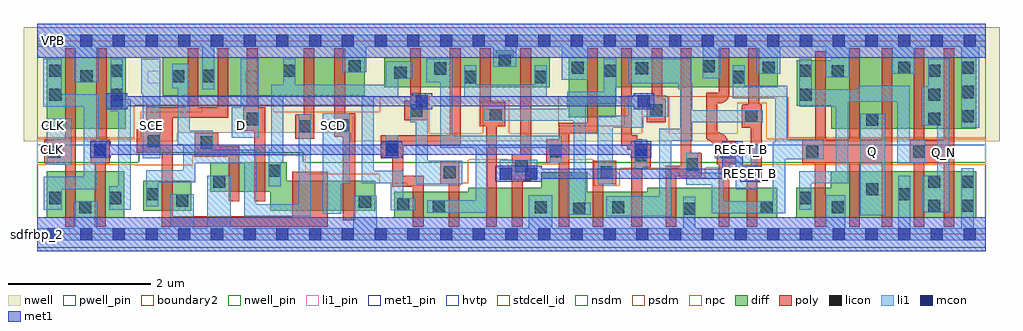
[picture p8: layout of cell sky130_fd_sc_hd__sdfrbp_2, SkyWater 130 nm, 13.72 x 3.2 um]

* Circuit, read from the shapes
.subckt sky130_fd_sc_hd__sdfrbp_2 CLK D Q Q_N RESET_B SCD SCE VGND VNB VPB VPWR
XM1 VGND CLK n1 VNB sky130_fd_pr__nfet_01v8 w=0.65 l=0.15
XM2 n2 n1 VGND VNB sky130_fd_pr__nfet_01v8 w=0.65 l=0.15
XM3 VGND SCE n3 VNB sky130_fd_pr__nfet_01v8 w=0.42 l=0.15
XM4 n4 n3 VGND VNB sky130_fd_pr__nfet_01v8 w=0.42 l=0.15
XM5 n5 D n4 VNB sky130_fd_pr__nfet_01v8 w=0.42 l=0.15
XM6 n6 SCE n5 VNB sky130_fd_pr__nfet_01v8 w=0.42 l=0.5
XM7 VGND SCD n6 VNB sky130_fd_pr__nfet_01v8 w=0.42 l=0.18
XM8 n7 n1 n5 VNB sky130_fd_pr__nfet_01v8 w=0.36 l=0.15
XM9 n8 n2 n7 VNB sky130_fd_pr__nfet_01v8 w=0.36 l=0.15
XM10 n9 n10 n8 VNB sky130_fd_pr__nfet_01v8 w=0.42 l=0.15
XM11 VGND RESET_B n9 VNB sky130_fd_pr__nfet_01v8 w=0.42 l=0.15
XM12 n10 n7 VGND VNB sky130_fd_pr__nfet_01v8 w=0.64 l=0.15
XM13 n11 n2 n10 VNB sky130_fd_pr__nfet_01v8 w=0.36 l=0.15
XM14 n12 n1 n11 VNB sky130_fd_pr__nfet_01v8 w=0.36 l=0.15
XM15 VGND n13 n12 VNB sky130_fd_pr__nfet_01v8 w=0.42 l=0.15
XM16 n14 RESET_B VGND VNB sky130_fd_pr__nfet_01v8 w=0.42 l=0.15
XM17 n13 n11 n14 VNB sky130_fd_pr__nfet_01v8 w=0.42 l=0.15
XM18 VGND n13 n15 VNB sky130_fd_pr__nfet_01v8 w=0.42 l=0.15
XM19 Q n13 VGND VNB sky130_fd_pr__nfet_01v8 w=0.65 l=0.15 m=2
XM20 Q_N n15 VGND VNB sky130_fd_pr__nfet_01v8 w=0.65 l=0.15 m=2
XM21 VPWR CLK n1 VPB sky130_fd_pr__pfet_01v8_hvt w=1 l=0.15
XM22 n2 n1 VPWR VPB sky130_fd_pr__pfet_01v8_hvt w=1 l=0.15
XM23 VPWR SCE n3 VPB sky130_fd_pr__pfet_01v8_hvt w=0.54 l=0.15
XM24 n16 SCE VPWR VPB sky130_fd_pr__pfet_01v8_hvt w=0.54 l=0.15
XM25 n5 D n16 VPB sky130_fd_pr__pfet_01v8_hvt w=0.54 l=0.15
XM26 n17 n3 n5 VPB sky130_fd_pr__pfet_01v8_hvt w=0.54 l=0.15
XM27 VPWR SCD n17 VPB sky130_fd_pr__pfet_01v8_hvt w=0.54 l=0.15
XM28 n7 n2 n5 VPB sky130_fd_pr__pfet_01v8_hvt w=0.42 l=0.15
XM29 n18 n1 n7 VPB sky130_fd_pr__pfet_01v8_hvt w=0.42 l=0.15
XM30 VPWR n10 n18 VPB sky130_fd_pr__pfet_01v8_hvt w=0.42 l=0.15
XM31 n18 RESET_B VPWR VPB sky130_fd_pr__pfet_01v8_hvt w=0.42 l=0.15
XM32 n10 n7 VPWR VPB sky130_fd_pr__pfet_01v8_hvt w=0.84 l=0.15
XM33 n11 n1 n10 VPB sky130_fd_pr__pfet_01v8_hvt w=0.42 l=0.15
XM34 n19 n2 n11 VPB sky130_fd_pr__pfet_01v8_hvt w=0.42 l=0.15
XM35 VPWR n13 n19 VPB sky130_fd_pr__pfet_01v8_hvt w=0.42 l=0.15
XM36 n13 RESET_B VPWR VPB sky130_fd_pr__pfet_01v8_hvt w=0.42 l=0.15
XM37 VPWR n11 n13 VPB sky130_fd_pr__pfet_01v8_hvt w=0.42 l=0.15
XM38 VPWR n13 n15 VPB sky130_fd_pr__pfet_01v8_hvt w=0.64 l=0.15
XM39 Q n13 VPWR VPB sky130_fd_pr__pfet_01v8_hvt w=1 l=0.15 m=2
XM40 Q_N n15 VPWR VPB sky130_fd_pr__pfet_01v8_hvt w=1 l=0.15 m=2
.ends

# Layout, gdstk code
import gdstk
lib = gdstk.Library(unit=1e-6, precision=1e-09)
def R(c, l, rs):  # rectangles x0, y0, x1, y1
    for r in rs: c.add(gdstk.rectangle(r[:2], r[2:], *l))
def A(c, l, x, y, w, h, nx, ny, dx, dy):  # array of equal rectangles
    R(c, l, [(x+i*dx, y+j*dy, x+i*dx+w, y+j*dy+h) for i in range(nx) for j in range(ny)])
def P(c, l, *ps):  # polygons
    for p in ps: c.add(gdstk.Polygon(p, *l))
nwell_pin = (64, 16)
nwell = (64, 20)
diff = (65, 20)
poly = (66, 20)
licon = (66, 44)
li1_pin = (67, 16)
li1 = (67, 20)
mcon = (67, 44)
met1_pin = (68, 16)
met1 = (68, 20)
hvtp = (78, 44)
stdcell_id = (81, 4)
nsdm = (93, 44)
psdm = (94, 20)
npc = (95, 20)
pwell_pin = (122, 16)
boundary2 = (236, 0)

sky130_fd_sc_hd__sdfrbp_ = lib.new_cell('sky130_fd_sc_hd__sdfrbp_2')
R(sky130_fd_sc_hd__sdfrbp_, nwell_pin, [(0.17,2.64,0.315,2.78)])
P(sky130_fd_sc_hd__sdfrbp_, nwell, [(13.53,2.91),(-0.19,2.91),(-0.19,1.305),(1.97,1.305),(1.97,1.425),(4.405,1.425),(4.405,1.305),(13.53,1.305)])
R(sky130_fd_sc_hd__sdfrbp_, diff, [(0.135,0.235,1.225,0.885), (1.495,0.33,2.165,0.75), (0.135,1.485,1.245,2.485), (1.77,1.945,4.61,2.485)])
P(sky130_fd_sc_hd__sdfrbp_, diff, [(13.205,2.485),(11.165,2.485),(11.165,2.445),(10.68,2.445),(10.68,1.805),(11.165,1.805),(11.165,1.485),(13.205,1.485)],
  [(4.755,0.75),(3.51,0.75),(3.51,1.015),(2.435,1.015),(2.435,0.595),(3.28,0.595),(3.28,0.33),(4.755,0.33)],
  [(7.205,2.485),(6.7,2.485),(6.7,2.585),(6.45,2.585),(6.45,2.485),(4.88,2.485),(4.88,2.065),(7.205,2.065)],
  [(10.405,0.655),(8.58,0.655),(8.58,0.595),(7.735,0.595),(7.735,0.875),(7.085,0.875),(7.085,0.655),(6.065,0.655),(6.065,0.595),(5.025,0.595),(5.025,0.235),(10.405,0.235)],
  [(10.41,2.485),(7.475,2.485),(7.475,1.645),(8.135,1.645),(8.135,2.065),(10.41,2.065)],
  [(13.205,0.885),(11.16,0.885),(11.16,0.655),(10.675,0.655),(10.675,0.235),(13.205,0.235)])
P(sky130_fd_sc_hd__sdfrbp_, poly, [(0.545,2.615),(0.395,2.615),(0.395,1.345),(0.23,1.345),(0.23,1.325),(0.105,1.325),(0.105,0.995),(0.23,0.995),(0.23,0.98),(0.395,0.98),(0.395,0.105),(0.545,0.105)],
  [(1.025,1.325),(0.98,1.325),(0.98,2.615),(0.83,2.615),(0.83,1.325),(0.755,1.325),(0.755,0.995),(0.815,0.995),(0.815,0.105),(0.965,0.105),(0.965,0.995),(1.025,0.995)],
  [(2.845,1.24),(2.55,1.24),(2.55,1.425),(2.22,1.425),(2.22,1.09),(2.695,1.09),(2.695,0.465),(2.845,0.465)],
  [(3.205,1.785),(3.1,1.785),(3.1,2.615),(2.95,2.615),(2.95,1.785),(2.9,1.785),(2.9,1.455),(3.055,1.455),(3.055,0.465),(3.205,0.465)],
  [(3.9,2.615),(3.75,2.615),(3.75,1.685),(3.65,1.685),(3.65,1.68),(3.64,1.68),(3.64,1.675),(3.63,1.675),(3.63,1.34),(3.9,1.34)],
  [(4.085,0.88),(3.585,0.88),(3.585,0.255),(1.905,0.255),(1.905,1.635),(2.69,1.635),(2.69,2.615),(2.54,2.615),(2.54,1.785),(2.27,1.785),(2.27,2.615),(2.12,2.615),(2.12,1.785),(1.535,1.785),(1.535,1.475),(1.4,1.475),(1.4,1.145),(1.755,1.145),(1.755,0.105),(4.085,0.105)],
  [(4.475,1.7),(4.33,1.7),(4.33,2.615),(4.18,2.615),(4.18,1.7),(4.175,1.7),(4.175,1.37),(4.295,1.37),(4.295,0.2),(4.475,0.2)],
  [(5.495,1.875),(5.395,1.875),(5.395,2.615),(5.245,2.615),(5.245,1.875),(5.165,1.875),(5.165,1.605),(5.495,1.605)],
  [(5.935,1.035),(5.665,1.035),(5.665,0.705),(5.785,0.705),(5.785,0.105),(5.935,0.105)],
  [(5.955,2.615),(5.805,2.615),(5.805,1.395),(4.83,1.395),(4.83,1.065),(4.995,1.065),(4.995,0.67),(5.285,0.67),(5.285,0.105),(5.435,0.105),(5.435,0.82),(5.145,0.82),(5.145,1.245),(5.955,1.245)],
  [(6.585,1.855),(6.375,1.855),(6.375,2.615),(6.225,2.615),(6.225,1.515),(6.315,1.515),(6.315,0.105),(6.465,0.105),(6.465,1.515),(6.585,1.515)],
  [(6.945,2.615),(6.795,2.615),(6.795,1.125),(6.675,1.125),(6.675,0.105),(6.825,0.105),(6.825,0.755),(6.945,0.755)],
  [(7.885,2.615),(7.735,2.615),(7.735,1.57),(7.335,1.57),(7.335,1.335),(7.155,1.335),(7.155,1.005),(7.335,1.005),(7.335,0.105),(7.485,0.105),(7.485,1.42),(7.885,1.42)],
  [(8.145,1.035),(7.81,1.035),(7.81,0.105),(7.96,0.105),(7.96,0.705),(8.145,0.705)],
  [(8.625,1.275),(8.505,1.275),(8.505,1.335),(8.44,1.335),(8.44,1.395),(8.36,1.395),(8.36,2.615),(8.21,2.615),(8.21,1.245),(8.295,1.245),(8.295,1.185),(8.355,1.185),(8.355,0.105),(8.505,0.105),(8.505,0.945),(8.625,0.945)],
  [(8.84,1.905),(8.79,1.905),(8.79,2.615),(8.64,2.615),(8.64,1.905),(8.57,1.905),(8.57,1.575),(8.84,1.575)],
  [(9.345,1.135),(9.335,1.135),(9.335,1.14),(9.325,1.14),(9.325,1.145),(9.2,1.145),(9.2,2.615),(9.05,2.615),(9.05,0.965),(8.835,0.965),(8.835,0.105),(8.985,0.105),(8.985,0.815),(9.345,0.815)],
  [(9.825,1.305),(9.815,1.305),(9.815,1.31),(9.805,1.31),(9.805,1.315),(9.705,1.315),(9.705,1.33),(9.7,1.33),(9.7,1.345),(9.695,1.345),(9.695,1.35),(9.69,1.35),(9.69,1.36),(9.685,1.36),(9.685,1.365),(9.68,1.365),(9.68,1.375),(9.675,1.375),(9.675,1.38),(9.67,1.38),(9.67,1.385),(9.665,1.385),(9.665,1.39),(9.66,1.39),(9.66,1.395),(9.65,1.395),(9.65,1.4),(9.645,1.4),(9.645,1.405),(9.635,1.405),(9.635,1.41),(9.63,1.41),(9.63,1.415),(9.615,1.415),(9.615,1.42),(9.6,1.42),(9.6,1.435),(9.56,1.435),(9.56,1.84),(9.62,1.84),(9.62,1.845),(9.635,1.845),(9.635,1.85),(9.65,1.85),(9.65,1.855),(9.655,1.855),(9.655,1.86),(9.665,1.86),(9.665,1.865),(9.67,1.865),(9.67,1.87),(9.68,1.87),(9.68,1.875),(9.685,1.875),(9.685,1.88),(9.69,1.88),(9.69,1.885),(9.695,1.885),(9.695,1.89),(9.7,1.89),(9.7,1.9),(9.705,1.9),(9.705,1.905),(9.71,1.905),(9.71,1.915),(9.715,1.915),(9.715,1.92),(9.72,1.92),(9.72,1.935),(9.73,1.935),(9.73,2.615),(9.58,2.615),(9.58,1.99),(9.41,1.99),(9.41,1.34),(9.425,1.34),(9.425,1.33),(9.435,1.33),(9.435,1.325),(9.445,1.325),(9.445,1.32),(9.455,1.32),(9.455,1.315),(9.465,1.315),(9.465,1.31),(9.47,1.31),(9.47,1.305),(9.475,1.305),(9.475,1.3),(9.485,1.3),(9.485,1.295),(9.49,1.295),(9.49,1.29),(9.495,1.29),(9.495,1.285),(9.5,1.285),(9.5,1.28),(9.505,1.28),(9.505,1.275),(9.51,1.275),(9.51,1.265),(9.515,1.265),(9.515,1.26),(9.52,1.26),(9.52,1.255),(9.525,1.255),(9.525,1.245),(9.53,1.245),(9.53,1.235),(9.535,1.235),(9.535,1.225),(9.54,1.225),(9.54,1.215),(9.545,1.215),(9.545,1.2),(9.55,1.2),(9.55,1.185),(9.555,1.185),(9.555,0.985),(9.58,0.985),(9.58,0.105),(9.73,0.105),(9.73,0.985),(9.825,0.985)],
  [(10.185,1.825),(10.15,1.825),(10.15,2.615),(10,2.615),(10,1.825),(9.925,1.825),(9.925,1.82),(9.915,1.82),(9.915,1.815),(9.905,1.815),(9.905,1.505),(9.915,1.505),(9.915,1.5),(9.925,1.5),(9.925,1.495),(10.035,1.495),(10.035,0.85),(10.025,0.85),(10.025,0.845),(10.02,0.845),(10.02,0.84),(10.015,0.84),(10.015,0.835),(9.975,0.835),(9.975,0.105),(10.125,0.105),(10.125,0.73),(10.185,0.73)],
  [(12.025,2.615),(11.875,2.615),(11.875,1.325),(11.565,1.325),(11.565,2.615),(11.415,2.615),(11.415,1.325),(11.09,1.325),(11.09,2.575),(10.94,2.575),(10.94,1.325),(10.755,1.325),(10.755,0.995),(10.935,0.995),(10.935,0.105),(11.085,0.105),(11.085,0.995),(11.415,0.995),(11.415,0.105),(11.565,0.105),(11.565,0.995),(11.875,0.995),(11.875,0.105),(12.025,0.105)],
  [(12.895,2.615),(12.745,2.615),(12.745,1.325),(12.475,1.325),(12.475,2.615),(12.325,2.615),(12.325,1.325),(12.265,1.325),(12.265,0.995),(12.325,0.995),(12.325,0.105),(12.475,0.105),(12.475,0.995),(12.745,0.995),(12.745,0.105),(12.895,0.105)])
A(sky130_fd_sc_hd__sdfrbp_, licon, 12.525, 1.535, 0.17, 0.17, 1, 3, 0, 0.34)
A(sky130_fd_sc_hd__sdfrbp_, licon, 12.995, 1.575, 0.17, 0.17, 1, 3, 0, 0.34)
R(sky130_fd_sc_hd__sdfrbp_, licon, [(7.535,0.275,7.705,0.445), (9.085,0.275,9.255,0.445), (0.595,0.295,0.765,0.465), (6.995,0.295,7.165,0.465), (8.085,0.295,8.255,0.465), (10.175,0.295,10.345,0.465), (11.17,0.295,11.34,0.465), (5.565,0.305,5.735,0.475), (12.525,0.315,12.695,0.485), (12.995,0.315,13.165,0.485), (5.065,0.335,5.235,0.505), (4.525,0.37,4.695,0.54), (1.955,0.39,2.125,0.56), (0.175,0.425,0.345,0.595), (1.015,0.425,1.185,0.595), (10.715,0.425,10.885,0.595), (1.535,0.475,1.705,0.645), (12.105,0.48,12.275,0.65), (11.655,0.545,11.825,0.715), (2.475,0.655,2.645,0.825), (12.525,0.655,12.695,0.825), (12.995,0.655,13.165,0.825), (5.715,0.785,5.885,0.955), (7.925,0.785,8.095,0.955), (3.255,0.805,3.425,0.975), (6.725,0.875,6.895,1.045), (9.125,0.895,9.295,1.065), (8.405,1.025,8.575,1.195), (9.605,1.065,9.775,1.235), (0.155,1.075,0.325,1.245), (0.805,1.075,0.975,1.245), (10.81,1.075,10.98,1.245), (12.315,1.075,12.485,1.245), (7.205,1.085,7.375,1.255), (4.905,1.145,5.075,1.315), (2.3,1.205,2.47,1.375), (1.56,1.225,1.73,1.395), (3.68,1.435,3.85,1.605), (4.225,1.45,4.395,1.62), (11.655,1.525,11.825,1.695), (2.95,1.535,3.12,1.705), (9.955,1.575,10.125,1.745), (6.365,1.595,6.535,1.765), (5.245,1.655,5.415,1.825), (8.62,1.655,8.79,1.825), (0.175,1.875,0.345,2.045), (1.035,1.875,1.205,2.045), (10.72,1.875,10.89,2.045), (6.005,2.125,6.175,2.295), (6.995,2.125,7.165,2.295), (9.78,2.125,9.95,2.295), (0.61,2.135,0.78,2.305), (1.9,2.135,2.07,2.305), (2.32,2.14,2.49,2.31), (5.025,2.185,5.195,2.355), (11.17,2.205,11.34,2.375), (0.175,2.215,0.345,2.385), (1.035,2.215,1.205,2.385), (3.46,2.215,3.63,2.385), (7.97,2.215,8.14,2.385), (10.72,2.215,10.89,2.385), (5.585,2.245,5.755,2.415), (8.42,2.25,8.59,2.42), (7.515,2.255,7.685,2.425), (10.2,2.255,10.37,2.425), (12.105,2.255,12.275,2.425), (4.38,2.275,4.55,2.445), (9.36,2.275,9.53,2.445), (6.49,2.355,6.66,2.525)])
R(sky130_fd_sc_hd__sdfrbp_, li1_pin, [(9.945,0.765,10.115,0.935), (12.695,1.07,12.79,1.23), (0.2,1.105,0.37,1.275), (9.825,1.105,9.995,1.275), (11.675,1.11,11.8,1.225), (0.2,1.445,0.37,1.615), (1.56,1.445,1.73,1.615), (2.795,1.445,2.965,1.615), (4.075,1.445,4.245,1.615), (1.56,2.125,1.73,2.295), (2.925,2.125,3.095,2.295)])
R(sky130_fd_sc_hd__sdfrbp_, li1, [(11.575,0.265,11.925,1.695), (6.505,0.765,7.035,1.045), (8.405,0.92,8.575,1.325), (0.14,0.975,0.49,1.625), (4.905,1.065,5.075,1.395)])
P(sky130_fd_sc_hd__sdfrbp_, li1, [(0.975,1.325),(0.865,1.325),(0.865,1.965),(0.345,1.965),(0.345,2.465),(0.09,2.465),(0.09,1.795),(0.66,1.795),(0.66,0.805),(0.095,0.805),(0.095,0.345),(0.345,0.345),(0.345,0.635),(0.835,0.635),(0.835,0.995),(0.975,0.995)],
  [(1.315,1.9),(1.205,1.9),(1.205,2.465),(1.035,2.465),(1.035,1.73),(1.145,1.73),(1.145,0.675),(1.015,0.675),(1.015,0.345),(1.315,0.345)],
  [(1.73,2.465),(1.465,2.465),(1.465,1.985),(1.485,1.985),(1.485,1.07),(1.73,1.07)],
  [(3.12,2.465),(2.865,2.465),(2.865,1.785),(2.735,1.785),(2.735,1.355),(3.12,1.355)],
  [(3.85,1.685),(3.68,1.685),(3.68,0.425),(3.085,0.425),(3.085,1.185),(2.47,1.185),(2.47,1.455),(2.15,1.455),(2.15,2.4),(1.9,2.4),(1.9,2.055),(1.98,2.055),(1.98,1.26),(2.055,1.26),(2.055,0.9),(1.535,0.9),(1.535,0.395),(1.705,0.395),(1.705,0.73),(2.225,0.73),(2.225,0.995),(2.915,0.995),(2.915,0.255),(3.85,0.255)],
  [(4.395,1.7),(4.02,1.7),(4.02,0.285),(4.275,0.285),(4.275,0.71),(4.395,0.71)],
  [(5.315,0.505),(5.145,0.505),(5.145,0.895),(4.735,0.895),(4.735,1.935),(5.075,1.935),(5.075,2.185),(5.275,2.185),(5.275,2.435),(4.905,2.435),(4.905,2.105),(3.63,2.105),(3.63,2.465),(3.46,2.465),(3.46,2.105),(3.29,2.105),(3.29,1.185),(3.255,1.185),(3.255,0.675),(3.425,0.675),(3.425,1.015),(3.46,1.015),(3.46,1.935),(4.565,1.935),(4.565,0.715),(4.975,0.715),(4.975,0.335),(5.315,0.335)],
  [(5.975,1.035),(5.495,1.035),(5.495,1.955),(5.245,1.955),(5.245,1.575),(5.325,1.575),(5.325,0.705),(5.975,0.705)],
  [(7.165,2.375),(6.995,2.375),(6.995,2.105),(6.175,2.105),(6.175,2.375),(6.005,2.375),(6.005,1.935),(7.165,1.935)],
  [(7.375,1.385),(5.835,1.385),(5.835,2.465),(5.47,2.465),(5.47,2.135),(5.665,2.135),(5.665,1.215),(6.165,1.215),(6.165,0.475),(5.485,0.475),(5.485,0.305),(6.335,0.305),(6.335,1.215),(7.205,1.215),(7.205,1.005),(7.375,1.005)],
  [(10.205,1.745),(9.21,1.745),(9.21,2.115),(9.19,2.115),(9.19,2.465),(8.32,2.465),(8.32,2.125),(9.015,2.125),(9.015,2.035),(9.04,2.035),(9.04,1.485),(8.745,1.485),(8.745,0.535),(8.005,0.535),(8.005,0.255),(8.915,0.255),(8.915,1.315),(9.21,1.315),(9.21,1.575),(10.205,1.575)],
  [(13.34,2.805),(0,2.805),(0,2.635),(0.53,2.635),(0.53,2.135),(0.86,2.135),(0.86,2.635),(2.32,2.635),(2.32,2.04),(2.49,2.04),(2.49,2.635),(4.3,2.635),(4.3,2.275),(4.63,2.275),(4.63,2.635),(6.41,2.635),(6.41,2.355),(6.74,2.355),(6.74,2.635),(7.375,2.635),(7.375,2.175),(7.745,2.175),(7.745,2.635),(9.36,2.635),(9.36,2.195),(9.61,2.195),(9.61,2.635),(10.12,2.635),(10.12,2.255),(10.45,2.255),(10.45,2.635),(11.09,2.635),(11.09,2.205),(11.42,2.205),(11.42,2.635),(12.025,2.635),(12.025,2.255),(12.355,2.255),(12.355,2.635),(12.995,2.635),(12.995,1.495),(13.245,1.495),(13.245,2.635),(13.34,2.635)],
  [(12.825,2.465),(12.525,2.465),(12.525,2.08),(12.435,2.08),(12.435,1.535),(12.655,1.535),(12.655,0.825),(12.445,0.825),(12.445,0.31),(12.825,0.31)],
  [(12.485,1.325),(12.265,1.325),(12.265,2.085),(11.55,2.085),(11.55,2.035),(10.89,2.035),(10.89,2.465),(10.715,2.465),(10.715,1.795),(11.23,1.795),(11.23,0.885),(10.715,0.885),(10.715,0.345),(10.885,0.345),(10.885,0.715),(11.405,0.715),(11.405,1.865),(12.095,1.865),(12.095,0.995),(12.485,0.995)],
  [(11.06,1.325),(10.545,1.325),(10.545,2.085),(9.95,2.085),(9.95,2.375),(9.78,2.375),(9.78,1.915),(10.375,1.915),(10.375,1.295),(10.345,1.295),(10.345,0.465),(9.655,0.465),(9.655,0.865),(9.295,0.865),(9.295,1.145),(9.125,1.145),(9.125,0.695),(9.485,0.695),(9.485,0.295),(10.515,0.295),(10.515,1.055),(11.06,1.055)],
  [(8.14,2.465),(7.97,2.465),(7.97,2.005),(7.455,2.005),(7.455,1.765),(6.285,1.765),(6.285,1.595),(7.545,1.595),(7.545,0.835),(7.455,0.835),(7.455,0.275),(7.785,0.275),(7.785,0.445),(7.715,0.445),(7.715,1.835),(8.14,1.835)],
  [(13.34,0.085),(13.165,0.085),(13.165,0.93),(12.995,0.93),(12.995,0.085),(12.275,0.085),(12.275,0.825),(12.105,0.825),(12.105,0.085),(11.365,0.085),(11.365,0.545),(11.09,0.545),(11.09,0.085),(9.255,0.085),(9.255,0.525),(9.085,0.525),(9.085,0.085),(7.245,0.085),(7.245,0.545),(6.915,0.545),(6.915,0.085),(4.775,0.085),(4.775,0.54),(4.445,0.54),(4.445,0.085),(2.725,0.085),(2.725,0.825),(2.395,0.825),(2.395,0.085),(2.205,0.085),(2.205,0.56),(1.875,0.56),(1.875,0.085),(0.845,0.085),(0.845,0.465),(0.515,0.465),(0.515,0.085),(0,0.085),(0,-0.085),(13.34,-0.085)],
  [(10.115,1.275),(9.525,1.275),(9.525,1.065),(9.825,1.065),(9.825,0.635),(10.115,0.635)],
  [(8.87,1.935),(8.84,1.935),(8.84,1.955),(8.31,1.955),(8.31,1.665),(7.885,1.665),(7.885,0.705),(8.095,0.705),(8.095,1.495),(8.52,1.495),(8.52,1.655),(8.87,1.655)])
A(sky130_fd_sc_hd__sdfrbp_, mcon, 0.145, -0.085, 0.17, 0.17, 29, 2, 0.46, 2.72)
R(sky130_fd_sc_hd__sdfrbp_, mcon, [(6.505,0.765,6.675,0.935), (6.865,0.765,7.035,0.935), (9.945,0.765,10.115,0.935), (0.805,1.105,0.975,1.275), (4.905,1.105,5.075,1.275), (8.405,1.105,8.575,1.275), (9.69,1.105,9.86,1.275), (1.035,1.785,1.205,1.955), (5.325,1.785,5.495,1.955), (8.445,1.785,8.615,1.955)])
R(sky130_fd_sc_hd__sdfrbp_, met1_pin, [(0.195,-0.05,0.285,0.035), (0.155,2.67,0.315,2.77)])
P(sky130_fd_sc_hd__sdfrbp_, met1, [(8.635,1.305),(8.345,1.305),(8.345,1.26),(5.135,1.26),(5.135,1.305),(4.845,1.305),(4.845,1.26),(1.035,1.26),(1.035,1.305),(0.745,1.305),(0.745,1.075),(1.035,1.075),(1.035,1.12),(4.845,1.12),(4.845,1.075),(5.135,1.075),(5.135,1.12),(8.345,1.12),(8.345,1.075),(8.635,1.075)],
  [(8.675,1.985),(8.385,1.985),(8.385,1.94),(5.555,1.94),(5.555,1.985),(5.265,1.985),(5.265,1.94),(1.27,1.94),(1.27,1.985),(0.97,1.985),(0.97,1.755),(1.27,1.755),(1.27,1.8),(5.265,1.8),(5.265,1.755),(5.555,1.755),(5.555,1.8),(8.385,1.8),(8.385,1.755),(8.675,1.755)],
  [(10.175,0.965),(9.92,0.965),(9.92,1.305),(9.63,1.305),(9.63,0.92),(7.095,0.92),(7.095,0.965),(6.445,0.965),(6.445,0.735),(7.095,0.735),(7.095,0.78),(9.885,0.78),(9.885,0.735),(10.175,0.735)])
R(sky130_fd_sc_hd__sdfrbp_, hvtp, [(0,1.25,13.34,2.72)])
R(sky130_fd_sc_hd__sdfrbp_, stdcell_id, [(0,0,13.34,2.72)])
P(sky130_fd_sc_hd__sdfrbp_, nsdm, [(13.34,1.015),(3.745,1.015),(3.745,1.155),(1.43,1.155),(1.43,1.015),(0,1.015),(0,-0.19),(13.34,-0.19)])
P(sky130_fd_sc_hd__sdfrbp_, psdm, [(13.34,2.91),(0,2.91),(0,1.355),(1.37,1.355),(1.37,1.815),(4.735,1.815),(4.735,1.935),(7.325,1.935),(7.325,1.515),(8.265,1.515),(8.265,1.935),(10.555,1.935),(10.555,1.355),(13.34,1.355)])
P(sky130_fd_sc_hd__sdfrbp_, npc, [(13.34,1.345),(10.26,1.345),(10.26,1.845),(9.845,1.845),(9.845,1.42),(8.89,1.42),(8.89,1.925),(8.5,1.925),(8.5,1.42),(6.635,1.42),(6.635,1.875),(6.265,1.875),(6.265,1.42),(5.515,1.42),(5.515,1.93),(4.82,1.93),(4.82,1.72),(3.33,1.72),(3.33,1.805),(2.315,1.805),(2.315,1.72),(1.46,1.72),(1.46,1.345),(0,1.345),(0,0.975),(1.385,0.975),(1.385,0.97),(2.19,0.97),(2.19,1.105),(3.77,1.105),(3.77,0.84),(4.81,0.84),(4.81,0.715),(5.205,0.715),(5.205,0.685),(5.96,0.685),(5.96,0.715),(6.06,0.715),(6.06,1.05),(6.625,1.05),(6.625,0.77),(6.995,0.77),(6.995,0.985),(7.475,0.985),(7.475,1.05),(7.825,1.05),(7.825,0.685),(8.195,0.685),(8.195,0.925),(9.025,0.925),(9.025,0.795),(9.395,0.795),(9.395,0.935),(9.875,0.935),(9.875,0.975),(13.34,0.975)])
R(sky130_fd_sc_hd__sdfrbp_, pwell_pin, [(0.215,-0.01,0.235,0.015)])
R(sky130_fd_sc_hd__sdfrbp_, boundary2, [(0,0,13.34,2.72)])
sky130_fd_sc_hd__sdfrbp_.add(gdstk.FlexPath([(0,2.72),(13.34,2.72)], 0.48, ends="flush", simple_path=True, layer=68, datatype=20))  # met1
sky130_fd_sc_hd__sdfrbp_.add(gdstk.FlexPath([(0,0),(13.34,0)], 0.48, ends="flush", simple_path=True, layer=68, datatype=20))  # met1
sky130_fd_sc_hd__sdfrbp_.add(gdstk.Label('sdfrbp_2', (0,0), layer=83, texttype=44))
sky130_fd_sc_hd__sdfrbp_.add(gdstk.Label('VPB', (0.23,2.72), layer=64, texttype=5))
sky130_fd_sc_hd__sdfrbp_.add(gdstk.Label('VNB', (0.23,0), layer=64, texttype=59))
sky130_fd_sc_hd__sdfrbp_.add(gdstk.Label('VPWR', (0.23,2.72), layer=68, texttype=5))
sky130_fd_sc_hd__sdfrbp_.add(gdstk.Label('VGND', (0.23,0), layer=68, texttype=5))
sky130_fd_sc_hd__sdfrbp_.add(gdstk.Label('Q_N', (12.745,1.15), layer=67, texttype=5))
sky130_fd_sc_hd__sdfrbp_.add(gdstk.Label('Q', (11.74,1.17), layer=67, texttype=5))
sky130_fd_sc_hd__sdfrbp_.add(gdstk.Label('SCE', (1.615,1.53), layer=67, texttype=5))
sky130_fd_sc_hd__sdfrbp_.add(gdstk.Label('SCD', (4.165,1.53), layer=67, texttype=5))
sky130_fd_sc_hd__sdfrbp_.add(gdstk.Label('D', (2.875,1.53), layer=67, texttype=5))
sky130_fd_sc_hd__sdfrbp_.add(gdstk.Label('RESET_B', (9.91,1.19), layer=67, texttype=5))
sky130_fd_sc_hd__sdfrbp_.add(gdstk.Label('CLK', (0.215,1.19), layer=67, texttype=5))
sky130_fd_sc_hd__sdfrbp_.add(gdstk.Label('CLK', (0.225,1.53), layer=67, texttype=5))
sky130_fd_sc_hd__sdfrbp_.add(gdstk.Label('RESET_B', (10.03,0.85), layer=67, texttype=5))

lib.write_gds('sky130_fd_sc_hd__sdfrbp_2.gds')
